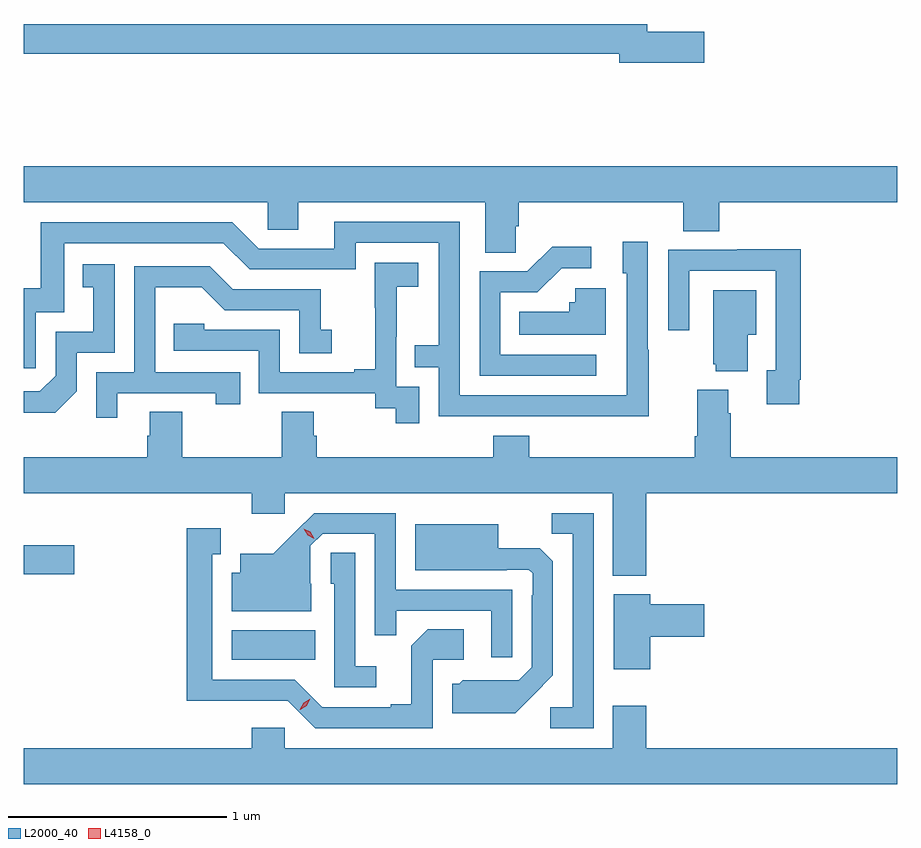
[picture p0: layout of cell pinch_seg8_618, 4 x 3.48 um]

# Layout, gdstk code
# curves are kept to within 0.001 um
import gdstk
lib = gdstk.Library(unit=1e-6, precision=1e-09)
def R(c, l, rs):  # rectangles x0, y0, x1, y1
    for r in rs: c.add(gdstk.rectangle(r[:2], r[2:], *l))
def P(c, l, *ps):  # polygons
    for p in ps: c.add(gdstk.Polygon(p, *l))
L2000_40 = (2000, 40)
L4158_0 = (4158, 0)

pinch_seg8_618 = lib.new_cell('pinch_seg8_618')
R(pinch_seg8_618, L2000_40, [(178.886,1086.434,179.27,1086.568), (177.934,1086.824,178.165,1086.958)])
P(pinch_seg8_618, L2000_40, [(181.051,1089.308),(180.79,1089.308),(180.79,1089.344),(177.934,1089.344),(177.934,1089.208),(180.662,1089.208),(180.662,1089.166),(181.051,1089.166)],
  [(180.186,1088.419),(180.2,1088.419),(180.2,1088.528),(180.953,1088.528),(180.953,1088.395),(181.118,1088.395),(181.118,1088.528),(181.934,1088.528),(181.934,1088.692),(177.934,1088.692),(177.934,1088.528),(179.052,1088.528),(179.052,1088.401),(179.191,1088.401),(179.191,1088.528),(180.047,1088.528),(180.047,1088.296),(180.186,1088.296)],
  [(180.795,1087.853),(180.792,1087.853),(180.792,1088.347),(180.677,1088.347),(180.677,1088.202),(180.696,1088.202),(180.695,1087.644),(179.931,1087.644),(179.931,1088.439),(179.357,1088.439),(179.357,1088.316),(179.01,1088.316),(178.89,1088.436),(178.011,1088.436),(178.011,1088.134),(177.934,1088.134),(177.934,1087.767),(177.99,1087.767),(177.99,1088.025),(178.119,1088.025),(178.119,1088.34),(178.848,1088.34),(178.968,1088.22),(179.454,1088.22),(179.454,1088.343),(179.835,1088.343),(179.835,1087.874),(179.725,1087.874),(179.725,1087.773),(179.835,1087.773),(179.835,1087.548),(180.795,1087.547)],
  [(180.556,1087.83),(180.117,1087.83),(180.117,1088.115),(180.286,1088.115),(180.397,1088.226),(180.532,1088.226),(180.532,1088.324),(180.353,1088.324),(180.24,1088.211),(180.021,1088.211),(180.021,1087.734),(180.556,1087.734)],
  [(181.486,1087.714),(181.493,1087.714),(181.493,1088.312),(181.201,1088.312),(181.201,1088.31),(180.885,1088.31),(180.885,1087.941),(180.981,1087.941),(180.981,1088.214),(181.377,1088.214),(181.377,1087.758),(181.337,1087.758),(181.337,1087.602),(181.486,1087.602)],
  [(179.745,1087.683),(179.64,1087.683),(179.64,1087.913),(179.642,1087.913),(179.642,1088.141),(179.74,1088.141),(179.74,1088.251),(179.542,1088.251),(179.542,1088.045),(179.543,1088.045),(179.543,1087.762),(179.447,1087.762),(179.447,1087.749),(179.106,1087.749),(179.106,1087.944),(178.761,1087.944),(178.761,1087.971),(178.621,1087.971),(178.621,1087.848),(179.01,1087.848),(179.01,1087.653),(179.544,1087.653),(179.544,1087.585),(179.637,1087.585),(179.637,1087.515),(179.745,1087.515)],
  [(178.176,1087.662),(178.176,1087.839),(178.35,1087.839),(178.35,1088.245),(178.204,1088.245),(178.204,1088.139),(178.253,1088.139),(178.253,1087.935),(178.08,1087.935),(178.08,1087.734),(178.008,1087.662),(177.934,1087.662),(177.934,1087.565),(178.078,1087.565)],
  [(178.363,1087.653),(178.814,1087.653),(178.814,1087.602),(178.925,1087.602),(178.925,1087.749),(178.536,1087.749),(178.536,1088.138),(178.75,1088.138),(178.854,1088.034),(179.196,1088.034),(179.196,1087.836),(179.344,1087.836),(179.344,1087.945),(179.295,1087.945),(179.295,1088.13),(178.891,1088.13),(178.786,1088.235),(178.44,1088.235),(178.44,1087.749),(178.266,1087.749),(178.266,1087.542),(178.363,1087.542)],
  [(180.598,1088.134),(180.459,1088.134),(180.459,1088.07),(180.433,1088.07),(180.433,1088.026),(180.202,1088.026),(180.202,1087.922),(180.598,1087.922)],
  [(181.249,1087.922),(181.288,1087.922),(181.288,1088.125),(181.091,1088.125),(181.091,1087.785),(181.103,1087.785),(181.103,1087.754),(181.249,1087.754)],
  [(180.785,1087.196),(181.934,1087.196),(181.934,1087.36),(181.172,1087.36),(181.172,1087.562),(181.159,1087.562),(181.159,1087.669),(181.019,1087.669),(181.019,1087.456),(181.007,1087.456),(181.007,1087.36),(180.248,1087.36),(180.248,1087.459),(180.083,1087.459),(180.083,1087.36),(179.276,1087.36),(179.276,1087.458),(179.263,1087.458),(179.263,1087.568),(179.116,1087.568),(179.116,1087.36),(178.659,1087.36),(178.659,1087.568),(178.511,1087.568),(178.511,1087.458),(178.499,1087.458),(178.499,1087.36),(177.934,1087.36),(177.934,1087.196),(178.979,1087.196),(178.979,1087.101),(179.13,1087.101),(179.13,1087.196),(180.632,1087.196),(180.632,1086.818),(180.785,1086.818)],
  [(180.543,1087.104),(180.352,1087.104),(180.352,1087.009),(180.447,1087.009),(180.447,1086.216),(180.345,1086.216),(180.345,1086.12),(180.543,1086.12)],
  [(180.171,1086.753),(179.637,1086.753),(179.637,1087.104),(179.264,1087.104),(179.077,1086.919),(178.925,1086.919),(178.925,1086.832),(178.886,1086.832),(178.886,1086.656),(179.251,1086.656),(179.251,1086.78),(179.247,1086.78),(179.247,1086.954),(179.304,1087.011),(179.541,1087.011),(179.541,1086.544),(179.639,1086.544),(179.639,1086.657),(180.075,1086.657),(180.075,1086.444),(180.171,1086.444)],
  [(180.265,1086.269),(180.357,1086.362),(180.357,1086.884),(180.298,1086.943),(180.106,1086.943),(180.106,1087.054),(179.726,1087.054),(179.726,1086.842),(180.146,1086.842),(180.146,1086.846),(180.246,1086.846),(180.264,1086.828),(180.264,1086.728),(180.261,1086.728),(180.261,1086.399),(180.201,1086.339),(179.944,1086.34),(179.928,1086.324),(179.897,1086.324),(179.897,1086.188),(180.185,1086.188)],
  [(179.808,1086.432),(179.95,1086.432),(179.95,1086.572),(179.785,1086.572),(179.709,1086.496),(179.709,1086.229),(179.615,1086.229),(179.615,1086.216),(179.301,1086.216),(179.175,1086.342),(178.798,1086.342),(178.798,1086.915),(178.837,1086.915),(178.837,1087.036),(178.68,1087.036),(178.68,1086.245),(179.142,1086.246),(179.268,1086.12),(179.808,1086.12)],
  [(179.548,1086.403),(179.451,1086.403),(179.451,1086.923),(179.34,1086.923),(179.34,1086.78),(179.355,1086.78),(179.355,1086.306),(179.548,1086.306)],
  [(180.802,1086.539),(181.051,1086.539),(181.051,1086.686),(180.802,1086.686),(180.802,1086.733),(180.635,1086.733),(180.635,1086.39),(180.802,1086.39)],
  [(181.934,1086.028),(180.785,1086.028),(180.785,1086.223),(180.632,1086.223),(180.632,1086.028),(179.13,1086.028),(179.13,1086.121),(178.979,1086.121),(178.979,1086.028),(177.934,1086.028),(177.934,1085.864),(181.934,1085.864)])
P(pinch_seg8_618, L4158_0, [(179.264,1086.988),(179.234,1087.003),(179.216,1087.032),(179.216,1087.033),(179.216,1087.033),(179.247,1087.018),(179.264,1086.988),(179.264,1086.988)],
  [(179.199,1086.204),(179.199,1086.204),(179.216,1086.236),(179.247,1086.255),(179.247,1086.255),(179.247,1086.255),(179.231,1086.223),(179.2,1086.204)])

lib.write_gds('pinch_seg8_618.gds')
